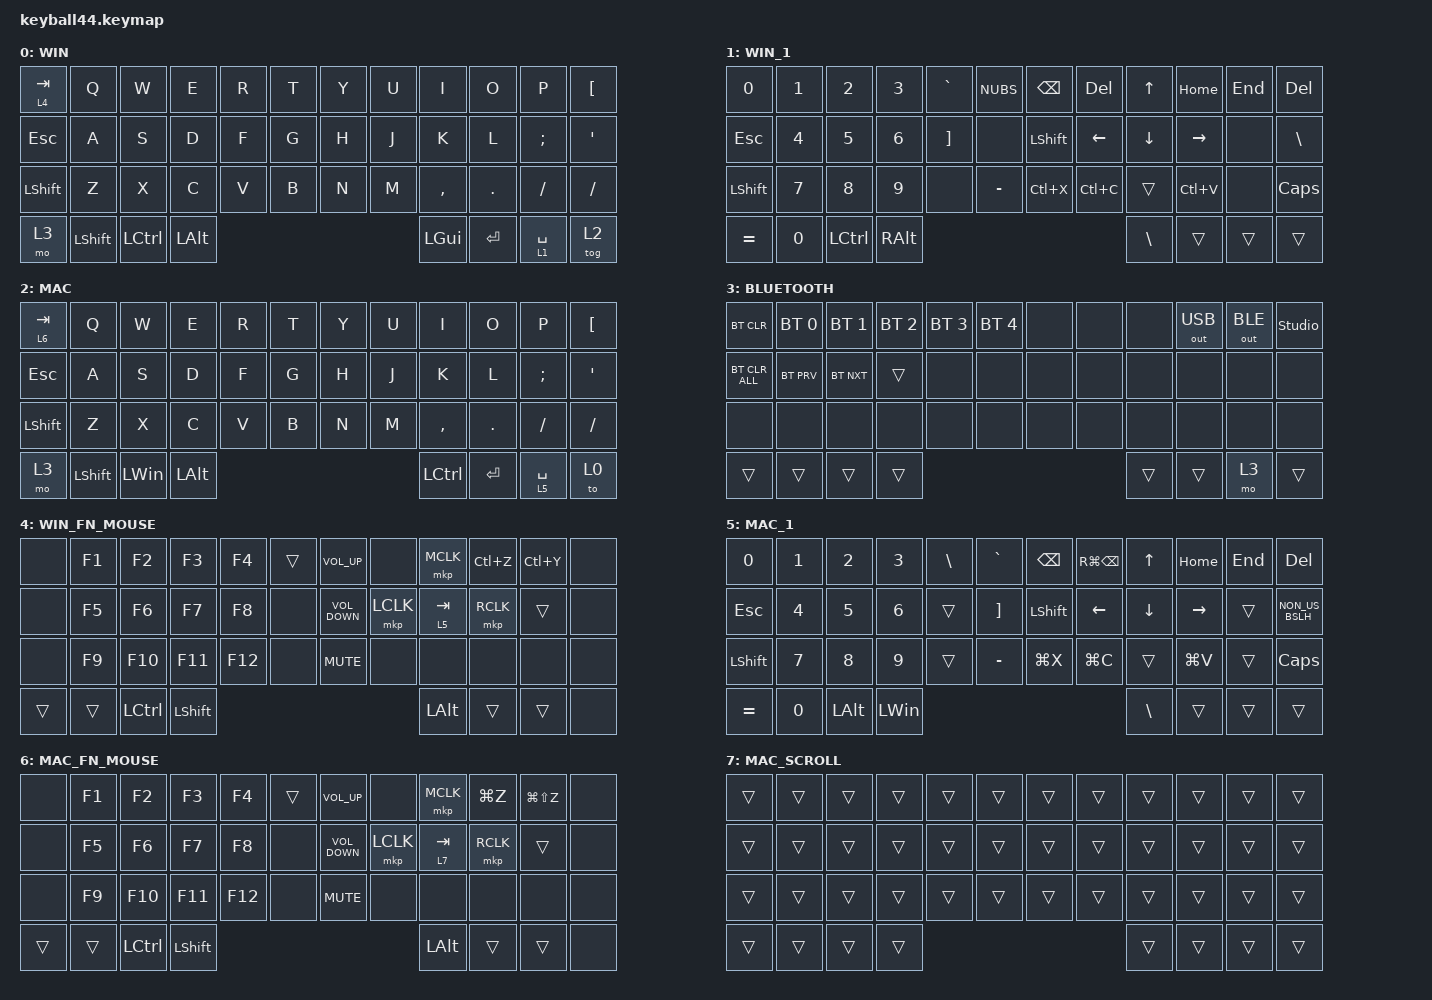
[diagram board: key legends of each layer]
#define DEFAULT 0
#define NUM     1
#define SYM     2
#define FUN     3
#define MOUSE   4
#define SCROLL  5
#define SNIPE   6

#include <dt-bindings/zmk/pointing.h>
#include <behaviors.dtsi>
#include <dt-bindings/zmk/bt.h>
#include <dt-bindings/zmk/keys.h>
#include <dt-bindings/zmk/outputs.h>

&lt {
    tapping-term-ms = <130>;
    flavor = "balanced";
    quick-tap-ms = <150>;
};

&mt {
    tapping-term-ms = <200>;
    flavor = "tap-preferred";
    quick-tap-ms = <150>;
};

&caps_word { continue-list = <UNDERSCORE MINUS>; };

/ {
    // custom shift using mod-morph 

    behaviors {
        cmqus: comma_question {
            compatible = "zmk,behavior-mod-morph";
            label = "COMMA_QUESTION";
            #binding-cells = <0>;
            bindings = <&kp COMMA>, <&kp QUESTION>;

            mods = <(MOD_LSFT|MOD_RSFT)>;
        };

        dtsmi: dot_semi {
            compatible = "zmk,behavior-mod-morph";
            label = "DOT_SEMI";
            #binding-cells = <0>;
            bindings = <&kp DOT>, <&kp SEMI>;

            mods = <(MOD_LSFT|MOD_RSFT)>;
        };
    };

    keymap {
        compatible = "zmk,keymap";

        DEFAULT_WIN_LAYER {
            label = "WIN";
            bindings = <
&lt 4 TAB       &kp Q           &kp W             &kp E         &kp R         &kp T                 &kp Y        &kp U  &kp I      &kp O    &kp P      &kp LBKT
&kp ESCAPE      &kp A           &kp S             &kp D         &kp F         &kp G                 &kp H        &kp J  &kp K      &kp L    &kp SEMI   &kp SQT
&kp LEFT_SHIFT  &kp Z           &kp X             &kp C         &kp V         &kp B                 &kp N        &kp M  &kp COMMA  &kp DOT  &kp SLASH  &kp SLASH
&mo 3           &kp LEFT_SHIFT  &kp LEFT_CONTROL  &kp LEFT_ALT  &kp LEFT_GUI             &kp ENTER  &lt 1 SPACE                                        &tog 2
            >;
        };

        LAYER_WIN_1 {
            label = "WIN_1";
            bindings = <
&kp NUMBER_0    &kp NUMBER_1  &kp NUMBER_2  &kp NUMBER_3   &kp GRAVE          &kp NUBS               &kp BACKSPACE   &kp DELETE      &kp UP_ARROW    &kp HOME         &kp END  &kp DELETE
&kp ESCAPE      &kp NUMBER_4  &kp NUMBER_5  &kp NUMBER_6   &kp RIGHT_BRACKET  &none                  &kp LEFT_SHIFT  &kp LEFT_ARROW  &kp DOWN_ARROW  &kp RIGHT_ARROW  &none    &kp BACKSLASH
&kp LEFT_SHIFT  &kp NUMBER_7  &kp NUMBER_8  &kp NUMBER_9   &none              &kp MINUS              &kp LC(X)       &kp LC(C)       &trans          &kp LC(V)        &none    &kp CAPSLOCK
&kp EQUAL       &kp NUMBER_0  &kp LCTRL     &kp RIGHT_ALT  &kp BACKSLASH                     &trans  &trans                                                                    &trans
            >;
        };

        DEFAULT_MAC_LAYER {
            label = "MAC";
            bindings = <
&lt 6 TAB       &kp Q           &kp W         &kp E         &kp R      &kp T                 &kp Y        &kp U  &kp I      &kp O    &kp P      &kp LBKT
&kp ESCAPE      &kp A           &kp S         &kp D         &kp F      &kp G                 &kp H        &kp J  &kp K      &kp L    &kp SEMI   &kp SQT
&kp LEFT_SHIFT  &kp Z           &kp X         &kp C         &kp V      &kp B                 &kp N        &kp M  &kp COMMA  &kp DOT  &kp SLASH  &kp SLASH
&mo 3           &kp LEFT_SHIFT  &kp LEFT_WIN  &kp LEFT_ALT  &kp LCTRL             &kp ENTER  &lt 5 SPACE                                        &to 0
            >;
        };

        bluetooth_layer {
            label = "BLUETOOTH";
            bindings = <
&bt BT_CLR      &bt BT_SEL 0  &bt BT_SEL 1  &bt BT_SEL 2  &bt BT_SEL 3  &bt BT_SEL 4              &none  &none  &none  &out OUT_USB  &out OUT_BLE  &studio_unlock
&bt BT_CLR_ALL  &bt BT_PRV    &bt BT_NXT    &trans        &none         &none                     &none  &none  &none  &none  &none  &none
&none           &none         &none         &none         &none         &none                     &none  &none  &none  &none  &none  &none
&trans          &trans        &trans        &trans        &trans                          &trans  &mo 3                              &trans
            >;
        };

        WIN_MOUSE_FN_LAYER {
            label = "WIN_FN_MOUSE";
            bindings = <
&none   &kp F1  &kp F2     &kp F3          &kp F4        &trans              &kp C_VOLUME_UP    &none      &mkp MCLK  &kp LC(Z)  &kp LC(Y)  &none
&none   &kp F5  &kp F6     &kp F7          &kp F8        &none               &kp C_VOLUME_DOWN  &mkp LCLK  &lt 5 TAB  &mkp RCLK  &trans     &none
&none   &kp F9  &kp F10    &kp F11         &kp F12       &none               &kp K_MUTE         &none      &none      &none      &none      &none
&trans  &trans  &kp LCTRL  &kp LEFT_SHIFT  &kp LEFT_ALT              &trans  &trans                                                         &none
            >;
        };

        LAYER_1_MAC {
            label = "MAC_1";
            bindings = <
&kp NUMBER_0    &kp NUMBER_1  &kp NUMBER_2  &kp NUMBER_3  &kp BACKSLASH  &kp GRAVE                      &kp BACKSPACE   &kp RG(BACKSPACE)  &kp UP_ARROW    &kp HOME         &kp END  &kp DELETE
&kp ESCAPE      &kp NUMBER_4  &kp NUMBER_5  &kp NUMBER_6  &trans         &kp RIGHT_BRACKET              &kp LEFT_SHIFT  &kp LEFT_ARROW     &kp DOWN_ARROW  &kp RIGHT_ARROW  &trans   &kp NON_US_BSLH
&kp LEFT_SHIFT  &kp NUMBER_7  &kp NUMBER_8  &kp NUMBER_9  &trans         &kp MINUS                      &kp LG(X)       &kp LG(C)          &trans          &kp LG(V)        &trans   &kp CAPSLOCK
&kp EQUAL       &kp NUMBER_0  &kp LEFT_ALT  &kp LEFT_WIN  &kp BACKSLASH                         &trans  &trans                                                                       &trans
            >;
        };

        MAC_MOUSE_FN_LAYER {
            label = "MAC_FN_MOUSE";
            bindings = <
&none   &kp F1  &kp F2     &kp F3          &kp F4        &trans              &kp C_VOLUME_UP    &none      &mkp MCLK  &kp LG(Z)  &kp LG(LS(Z))  &none
&none   &kp F5  &kp F6     &kp F7          &kp F8        &none               &kp C_VOLUME_DOWN  &mkp LCLK  &lt 7 TAB  &mkp RCLK  &trans         &none
&none   &kp F9  &kp F10    &kp F11         &kp F12       &none               &kp K_MUTE         &none      &none      &none      &none          &none
&trans  &trans  &kp LCTRL  &kp LEFT_SHIFT  &kp LEFT_ALT              &trans  &trans                                                             &none
            >;
        };

        mac_scroll_layer {
            label = "MAC_SCROLL";
            bindings = <
&trans  &trans  &trans  &trans  &trans  &trans              &trans  &trans  &trans  &trans  &trans  &trans
&trans  &trans  &trans  &trans  &trans  &trans              &trans  &trans  &trans  &trans  &trans  &trans
&trans  &trans  &trans  &trans  &trans  &trans              &trans  &trans  &trans  &trans  &trans  &trans
&trans  &trans  &trans  &trans  &trans          &trans  &trans                                      &trans
            >;
        };
    };
};
